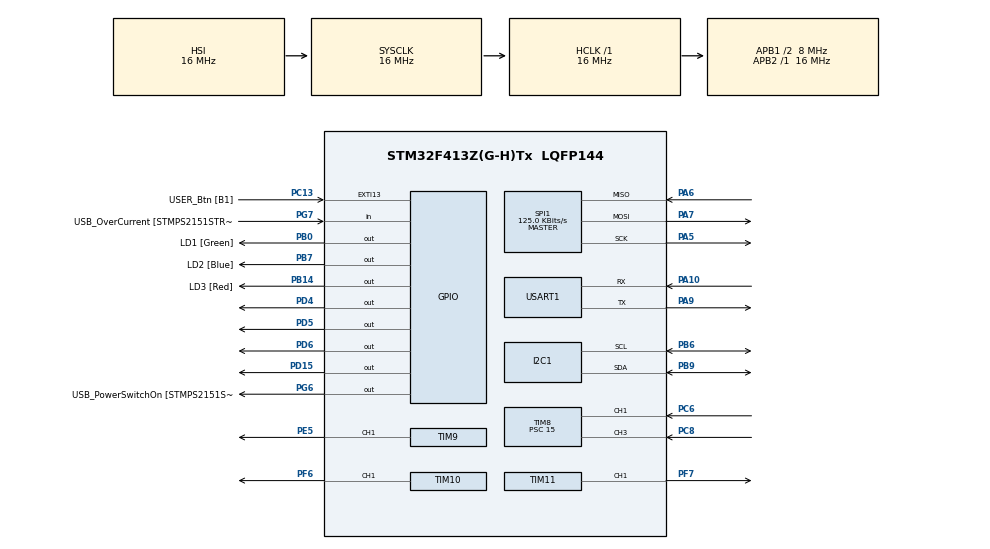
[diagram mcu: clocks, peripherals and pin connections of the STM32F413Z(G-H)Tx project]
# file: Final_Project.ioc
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Dma.Request0=SPI1_RX
Dma.Request1=SPI1_TX
Dma.SPI1_RX.0.Direction=DMA_PERIPH_TO_MEMORY
Dma.SPI1_RX.0.FIFOMode=DMA_FIFOMODE_DISABLE
Dma.SPI1_RX.0.Instance=DMA2_Stream0
Dma.SPI1_RX.0.MemDataAlignment=DMA_MDATAALIGN_BYTE
Dma.SPI1_RX.0.MemInc=DMA_MINC_ENABLE
Dma.SPI1_RX.0.Mode=DMA_NORMAL
Dma.SPI1_RX.0.PeriphDataAlignment=DMA_PDATAALIGN_BYTE
Dma.SPI1_RX.0.PeriphInc=DMA_PINC_DISABLE
Dma.SPI1_RX.0.Priority=DMA_PRIORITY_LOW
Dma.SPI1_TX.1.Direction=DMA_MEMORY_TO_PERIPH
Dma.SPI1_TX.1.FIFOMode=DMA_FIFOMODE_DISABLE
Dma.SPI1_TX.1.Instance=DMA2_Stream2
Dma.SPI1_TX.1.MemDataAlignment=DMA_MDATAALIGN_BYTE
Dma.SPI1_TX.1.MemInc=DMA_MINC_ENABLE
Dma.SPI1_TX.1.Mode=DMA_NORMAL
Dma.SPI1_TX.1.PeriphDataAlignment=DMA_PDATAALIGN_BYTE
Dma.SPI1_TX.1.PeriphInc=DMA_PINC_DISABLE
Dma.SPI1_TX.1.Priority=DMA_PRIORITY_LOW
Mcu.Family=STM32F4
Mcu.Name=STM32F413Z(G-H)Tx
Mcu.Package=LQFP144
NVIC.DMA2_Stream0_IRQn=true\:0\:0\:false\:false\:true\:false\:true
NVIC.DMA2_Stream2_IRQn=true\:0\:0\:false\:false\:true\:false\:true
NVIC.I2C1_ER_IRQn=true\:0\:0\:false\:false\:true\:true\:true
NVIC.I2C1_EV_IRQn=true\:0\:0\:false\:false\:true\:true\:true
NVIC.PriorityGroup=NVIC_PRIORITYGROUP_4
NVIC.SPI1_IRQn=true\:0\:0\:false\:false\:true\:true\:true
NVIC.TIM1_BRK_TIM9_IRQn=true\:0\:0\:false\:false\:true\:true\:true
NVIC.TIM1_TRG_COM_TIM11_IRQn=true\:0\:0\:false\:false\:true\:true\:true
NVIC.TIM1_UP_TIM10_IRQn=true\:0\:0\:false\:false\:true\:true\:true
NVIC.TIM8_CC_IRQn=true\:0\:0\:false\:false\:true\:true\:true
NVIC.USART1_IRQn=true\:0\:0\:false\:false\:true\:true\:true
PA10.Mode=Asynchronous
PA10.Signal=USART1_RX
PA11.GPIO_Label=USB_DM
PA11.Signal=USB_OTG_FS_DM
PA12.GPIO_Label=USB_DP
PA12.Signal=USB_OTG_FS_DP
PA13.GPIO_Label=TMS
PA13.Mode=Trace_Asynchronous_SW
PA13.Signal=SYS_JTMS-SWDIO
PA14.GPIO_Label=TCK
PA14.Mode=Trace_Asynchronous_SW
PA14.Signal=SYS_JTCK-SWCLK
PA5.Mode=Full_Duplex_Master
PA5.Signal=SPI1_SCK
PA6.Mode=Full_Duplex_Master
PA6.Signal=SPI1_MISO
PA7.Mode=Full_Duplex_Master
PA7.Signal=SPI1_MOSI
PA9.Mode=Asynchronous
PA9.Signal=USART1_TX
PB0.GPIO_Label=LD1 [Green]
PB0.Signal=GPIO_Output
PB14.GPIO_Label=LD3 [Red]
PB14.GPIO_Speed=GPIO_SPEED_FREQ_LOW
PB14.Signal=GPIO_Output
PB3.GPIO_Label=SWO
PB3.Mode=Trace_Asynchronous_SW
PB3.Signal=SYS_JTDO-SWO
PB6.Mode=I2C
PB6.Signal=I2C1_SCL
PB7.GPIO_Label=LD2 [Blue]
PB7.Signal=GPIO_Output
PB9.Mode=I2C
PB9.Signal=I2C1_SDA
PC13.GPIO_Label=USER_Btn [B1]
PC13.Signal=GPXTI13
PC14-OSC32_IN.Signal=RCC_OSC32_IN
PC15-OSC32_OUT.Signal=RCC_OSC32_OUT
PC6.Signal=S_TIM8_CH1
PC8.Signal=S_TIM8_CH3
PD15.GPIO_Speed=GPIO_SPEED_FREQ_VERY_HIGH
PD15.Signal=GPIO_Output
PD4.Signal=GPIO_Output
PD5.Signal=GPIO_Output
PD6.Signal=GPIO_Output
PD8.GPIO_Label=STLK_RX [STM32F103CBT6_PA3]
PD8.Signal=USART3_TX
PD9.GPIO_Label=STLK_TX [STM32F103CBT6_PA2]
PD9.Signal=USART3_RX
PE5.Signal=S_TIM9_CH1
PF6.Signal=S_TIM10_CH1
PF7.Signal=S_TIM11_CH1
PG6.GPIO_Label=USB_PowerSwitchOn [STMPS2151STR_EN]
PG6.Signal=GPIO_Output
PG7.GPIO_Label=USB_OverCurrent [STMPS2151STR_FAULT]
PG7.Signal=GPIO_Input
PH0\ -\ OSC_IN.GPIO_Label=MCO
PH0\ -\ OSC_IN.Signal=RCC_OSC_IN
PH1\ -\ OSC_OUT.Signal=RCC_OSC_OUT
ProjectManager.HeapSize=0x200
ProjectManager.StackSize=0x400
ProjectManager.TargetToolchain=MDK-ARM V5
RCC.48MHZClocksFreq_Value=24000000
RCC.AHBFreq_Value=16000000
RCC.APB1CLKDivider=RCC_HCLK_DIV2
RCC.APB1Freq_Value=8000000
RCC.APB1TimFreq_Value=16000000
RCC.APB2Freq_Value=16000000
RCC.APB2TimFreq_Value=16000000
RCC.CortexFreq_Value=16000000
RCC.HCLKFreq_Value=16000000
RCC.HSE_VALUE=8000000
RCC.HSI_VALUE=16000000
RCC.PLLMUL=RCC_PLL_MUL9
RCC.PRESCALERUSB=RCC_USBCLKSOURCE_PLL_DIV1_5
RCC.SYSCLKFreq_VALUE=16000000
RCC.SYSCLKSourceVirtual=RCC_SYSCLKSOURCE_PLLCLK
RCC.USBFreq_Value=96000000
RCC.VCOOutputFreq_Value=192000000
SH.S_TIM10_CH1.0=TIM10_CH1,PWM Generation1 CH1
SH.S_TIM11_CH1.0=TIM11_CH1,PWM Generation1 CH1
SH.S_TIM8_CH1.0=TIM8_CH1,TriggerSource_TI1FP1
SH.S_TIM8_CH1.1=TIM8_CH1,Input_Capture1_from_TI1
SH.S_TIM8_CH3.0=TIM8_CH3,Input_Capture3_from_TI3
SH.S_TIM9_CH1.0=TIM9_CH1,PWM Generation1 CH1
SPI1.BaudRatePrescaler=SPI_BAUDRATEPRESCALER_128
SPI1.CLKPhase=SPI_PHASE_1EDGE
SPI1.CLKPolarity=SPI_POLARITY_LOW
SPI1.CalculateBaudRate=125.0 KBits/s
SPI1.DataSize=SPI_DATASIZE_8BIT
SPI1.Direction=SPI_DIRECTION_2LINES
SPI1.Mode=SPI_MODE_MASTER
SPI1.VirtualType=VM_MASTER
TIM10.Channel=TIM_CHANNEL_1
TIM10.Period=100
TIM10.Prescaler=3
TIM10.Pulse=30
TIM11.Channel=TIM_CHANNEL_1
TIM11.Period=19999
TIM11.Prescaler=15
TIM8.Channel-Input_Capture1_from_TI1=TIM_CHANNEL_1
TIM8.Channel-Input_Capture2_from_TI1_63=TIM_CHANNEL_2
TIM8.Channel-Input_Capture3_from_TI3=TIM_CHANNEL_3
TIM8.ICPolarity_CH2=TIM_INPUTCHANNELPOLARITY_FALLING
TIM8.Period=30000
TIM8.Prescaler=15
TIM9.Channel-PWM\ Generation1\ CH1=TIM_CHANNEL_1
TIM9.Period=19999
TIM9.Prescaler=15
USART1.VirtualMode=VM_ASYNC
VP_TIM10_VS_ClockSourceINT.Mode=Enable_Timer
VP_TIM11_VS_ClockSourceINT.Mode=Enable_Timer
VP_TIM8_VS_ClockSourceINT.Mode=Internal
VP_TIM8_VS_ControllerModeReset.Mode=Reset Mode
VP_TIM8_VS_indirect_ch1.Mode=Input_Capture2_from_TI1_63
VP_TIM9_VS_ClockSourceINT.Mode=Internal
board=NUCLEO-F413ZH

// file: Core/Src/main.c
/* USER CODE BEGIN Header */
/**
  ******************************************************************************
  * @file           : main.c
  * @brief          : Main program body
  ******************************************************************************
  * @attention
  *
  * <h2><center>&copy; Copyright (c) 2021 STMicroelectronics.
  * All rights reserved.</center></h2>
  *
  * This software component is licensed by ST under BSD 3-Clause license,
  * the "License"; You may not use this file except in compliance with the
  * License. You may obtain a copy of the License at:
  *                        opensource.org/licenses/BSD-3-Clause
  *
  ******************************************************************************
  */
/* USER CODE END Header */
#include "main.h"

/* USER CODE BEGIN Includes */
#include "Functions.h"

/* USER CODE END Includes */

I2C_HandleTypeDef hi2c1;

SPI_HandleTypeDef hspi1;
DMA_HandleTypeDef hdma_spi1_rx;
DMA_HandleTypeDef hdma_spi1_tx;

TIM_HandleTypeDef htim8;
TIM_HandleTypeDef htim9;
TIM_HandleTypeDef htim10;
TIM_HandleTypeDef htim11;

UART_HandleTypeDef huart1;

void SystemClock_Config(void);
static void MX_GPIO_Init(void);
static void MX_I2C1_Init(void);
static void MX_SPI1_Init(void);
static void MX_USART1_UART_Init(void);
static void MX_TIM8_Init(void);
static void MX_DMA_Init(void);
static void MX_TIM9_Init(void);
static void MX_TIM10_Init(void);
static void MX_TIM11_Init(void);

int main(void)
{
  /* USER CODE BEGIN 1 */
	char buf[10] = {0};
	short input_PWM_servo;
	short input_PWM_DRV = 0;
	short count = 0;
	uint8_t flag;
	uint8_t i;
	uint16_t old_angle;
	uint16_t new_angle;

  /* USER CODE END 1 */

  /* MCU Configuration--------------------------------------------------------*/

  /* Reset of all peripherals, Initializes the Flash interface and the Systick. */
  HAL_Init();

  /* Configure the system clock */
  SystemClock_Config();

  /* Initialize all configured peripherals */
  MX_GPIO_Init();
  MX_I2C1_Init();
  MX_SPI1_Init();
  MX_USART1_UART_Init();
  MX_TIM8_Init();
  MX_DMA_Init();
  MX_TIM9_Init();
  MX_TIM10_Init();
  MX_TIM11_Init();
  /* USER CODE BEGIN 2 */

	HAL_TIM_IC_Start(&htim8, TIM_CHANNEL_1); //Reaction on output event
	HAL_TIM_IC_Start(&htim8, TIM_CHANNEL_2);
	HAL_TIM_IC_Start(&htim8, TIM_CHANNEL_3);

	HAL_TIM_Base_Start(&htim8);

	HAL_TIM_PWM_Start(&htim11, TIM_CHANNEL_1);  //Start servo timer
	HAL_TIM_PWM_Start(&htim10, TIM_CHANNEL_1); //Start DRV timer

	DRV_setup(&hspi1);
	old_angle = getAngle(&hi2c1);
	struct Stack stack_DRV;
	struct Stack stack_SERVO;
	Stack_ctor_(&stack_DRV);
	Stack_ctor_(&stack_SERVO);
	TIM11->CCR1 = 1180;

  /* USER CODE END 2 */

  /* Infinite loop */
  while (1)
  {

    /* USER CODE BEGIN 3 */

		if (HAL_GPIO_ReadPin(GPIOC, GPIO_PIN_13))
			i++;
		else
			i = 0;
		if (i > 5){
			HAL_GPIO_WritePin(GPIOB, GPIO_PIN_7, 1);
			flag = 1;
		}

		new_angle = getAngle(&hi2c1);

		if (abs(old_angle - new_angle) > 8192){
			if (new_angle > old_angle){
				count += 1;
		}else{
				count -= 1;
		  }
	  }

	  old_angle = new_angle;

		//sprintf(buf, "%d\n", count);

		//HAL_UART_Transmit_IT(&huart1, (uint8_t*) buf, 10);
		//HAL_Delay(300);

		if (flag){
			input_PWM_DRV = pop(&stack_DRV, &huart1);
			input_PWM_servo = pop(&stack_SERVO, &huart1);
			HAL_Delay(50);

			DRV_start_reverse(input_PWM_DRV);
		  SERVO_start(input_PWM_servo);

		}else{
			input_PWM_DRV = TIM8->CCR1 - TIM8->CCR3;
			input_PWM_DRV = -(input_PWM_DRV - 1487)/7;
			input_PWM_servo = 2696 - (TIM8->CCR2);

			push(&stack_DRV, input_PWM_DRV, &huart1);
			push(&stack_SERVO, input_PWM_servo, &huart1);
			HAL_Delay(50);

			DRV_start(input_PWM_DRV);
			SERVO_start(input_PWM_servo);
		}
	}

  /* USER CODE END 3 */
}

void SystemClock_Config(void)
{
  RCC_OscInitTypeDef RCC_OscInitStruct = {0};
  RCC_ClkInitTypeDef RCC_ClkInitStruct = {0};

  /** Configure the main internal regulator output voltage
  */
  __HAL_RCC_PWR_CLK_ENABLE();
  __HAL_PWR_VOLTAGESCALING_CONFIG(PWR_REGULATOR_VOLTAGE_SCALE1);
  /** Initializes the RCC Oscillators according to the specified parameters
  * in the RCC_OscInitTypeDef structure.
  */
  RCC_OscInitStruct.OscillatorType = RCC_OSCILLATORTYPE_HSI;
  RCC_OscInitStruct.HSIState = RCC_HSI_ON;
  RCC_OscInitStruct.HSICalibrationValue = RCC_HSICALIBRATION_DEFAULT;
  RCC_OscInitStruct.PLL.PLLState = RCC_PLL_NONE;
  if (HAL_RCC_OscConfig(&RCC_OscInitStruct) != HAL_OK)
  {
    Error_Handler();
  }
  /** Initializes the CPU, AHB and APB buses clocks
  */
  RCC_ClkInitStruct.ClockType = RCC_CLOCKTYPE_HCLK|RCC_CLOCKTYPE_SYSCLK
                              |RCC_CLOCKTYPE_PCLK1|RCC_CLOCKTYPE_PCLK2;
  RCC_ClkInitStruct.SYSCLKSource = RCC_SYSCLKSOURCE_HSI;
  RCC_ClkInitStruct.AHBCLKDivider = RCC_SYSCLK_DIV1;
  RCC_ClkInitStruct.APB1CLKDivider = RCC_HCLK_DIV2;
  RCC_ClkInitStruct.APB2CLKDivider = RCC_HCLK_DIV1;

  if (HAL_RCC_ClockConfig(&RCC_ClkInitStruct, FLASH_LATENCY_0) != HAL_OK)
  {
    Error_Handler();
  }
}

static void MX_I2C1_Init(void)
{

  hi2c1.Instance = I2C1;
  hi2c1.Init.ClockSpeed = 100000;
  hi2c1.Init.DutyCycle = I2C_DUTYCYCLE_2;
  hi2c1.Init.OwnAddress1 = 0;
  hi2c1.Init.AddressingMode = I2C_ADDRESSINGMODE_7BIT;
  hi2c1.Init.DualAddressMode = I2C_DUALADDRESS_DISABLE;
  hi2c1.Init.OwnAddress2 = 0;
  hi2c1.Init.GeneralCallMode = I2C_GENERALCALL_DISABLE;
  hi2c1.Init.NoStretchMode = I2C_NOSTRETCH_DISABLE;
  if (HAL_I2C_Init(&hi2c1) != HAL_OK)
  {
    Error_Handler();
  }

}

static void MX_SPI1_Init(void)
{

  /* SPI1 parameter configuration*/
  hspi1.Instance = SPI1;
  hspi1.Init.Mode = SPI_MODE_MASTER;
  hspi1.Init.Direction = SPI_DIRECTION_2LINES;
  hspi1.Init.DataSize = SPI_DATASIZE_8BIT;
  hspi1.Init.CLKPolarity = SPI_POLARITY_LOW;
  hspi1.Init.CLKPhase = SPI_PHASE_1EDGE;
  hspi1.Init.NSS = SPI_NSS_SOFT;
  hspi1.Init.BaudRatePrescaler = SPI_BAUDRATEPRESCALER_128;
  hspi1.Init.FirstBit = SPI_FIRSTBIT_MSB;
  hspi1.Init.TIMode = SPI_TIMODE_DISABLE;
  hspi1.Init.CRCCalculation = SPI_CRCCALCULATION_DISABLE;
  hspi1.Init.CRCPolynomial = 10;
  if (HAL_SPI_Init(&hspi1) != HAL_OK)
  {
    Error_Handler();
  }

}

static void MX_TIM8_Init(void)
{

  TIM_ClockConfigTypeDef sClockSourceConfig = {0};
  TIM_SlaveConfigTypeDef sSlaveConfig = {0};
  TIM_MasterConfigTypeDef sMasterConfig = {0};
  TIM_IC_InitTypeDef sConfigIC = {0};

  htim8.Instance = TIM8;
  htim8.Init.Prescaler = 15;
  htim8.Init.CounterMode = TIM_COUNTERMODE_UP;
  htim8.Init.Period = 30000;
  htim8.Init.ClockDivision = TIM_CLOCKDIVISION_DIV1;
  htim8.Init.RepetitionCounter = 0;
  htim8.Init.AutoReloadPreload = TIM_AUTORELOAD_PRELOAD_DISABLE;
  if (HAL_TIM_Base_Init(&htim8) != HAL_OK)
  {
    Error_Handler();
  }
  sClockSourceConfig.ClockSource = TIM_CLOCKSOURCE_INTERNAL;
  if (HAL_TIM_ConfigClockSource(&htim8, &sClockSourceConfig) != HAL_OK)
  {
    Error_Handler();
  }
  if (HAL_TIM_IC_Init(&htim8) != HAL_OK)
  {
    Error_Handler();
  }
  sSlaveConfig.SlaveMode = TIM_SLAVEMODE_RESET;
  sSlaveConfig.InputTrigger = TIM_TS_TI1FP1;
  sSlaveConfig.TriggerPolarity = TIM_INPUTCHANNELPOLARITY_RISING;
  sSlaveConfig.TriggerFilter = 0;
  if (HAL_TIM_SlaveConfigSynchro(&htim8, &sSlaveConfig) != HAL_OK)
  {
    Error_Handler();
  }
  sMasterConfig.MasterOutputTrigger = TIM_TRGO_RESET;
  sMasterConfig.MasterSlaveMode = TIM_MASTERSLAVEMODE_DISABLE;
  if (HAL_TIMEx_MasterConfigSynchronization(&htim8, &sMasterConfig) != HAL_OK)
  {
    Error_Handler();
  }
  sConfigIC.ICPolarity = TIM_INPUTCHANNELPOLARITY_RISING;
  sConfigIC.ICSelection = TIM_ICSELECTION_DIRECTTI;
  sConfigIC.ICPrescaler = TIM_ICPSC_DIV1;
  sConfigIC.ICFilter = 0;
  if (HAL_TIM_IC_ConfigChannel(&htim8, &sConfigIC, TIM_CHANNEL_1) != HAL_OK)
  {
    Error_Handler();
  }
  sConfigIC.ICPolarity = TIM_INPUTCHANNELPOLARITY_FALLING;
  sConfigIC.ICSelection = TIM_ICSELECTION_INDIRECTTI;
  if (HAL_TIM_IC_ConfigChannel(&htim8, &sConfigIC, TIM_CHANNEL_2) != HAL_OK)
  {
    Error_Handler();
  }
  sConfigIC.ICPolarity = TIM_INPUTCHANNELPOLARITY_RISING;
  sConfigIC.ICSelection = TIM_ICSELECTION_DIRECTTI;
  if (HAL_TIM_IC_ConfigChannel(&htim8, &sConfigIC, TIM_CHANNEL_3) != HAL_OK)
  {
    Error_Handler();
  }

}

static void MX_TIM9_Init(void)
{

  TIM_ClockConfigTypeDef sClockSourceConfig = {0};
  TIM_OC_InitTypeDef sConfigOC = {0};

  htim9.Instance = TIM9;
  htim9.Init.Prescaler = 15;
  htim9.Init.CounterMode = TIM_COUNTERMODE_UP;
  htim9.Init.Period = 19999;
  htim9.Init.ClockDivision = TIM_CLOCKDIVISION_DIV1;
  htim9.Init.AutoReloadPreload = TIM_AUTORELOAD_PRELOAD_DISABLE;
  if (HAL_TIM_Base_Init(&htim9) != HAL_OK)
  {
    Error_Handler();
  }
  sClockSourceConfig.ClockSource = TIM_CLOCKSOURCE_INTERNAL;
  if (HAL_TIM_ConfigClockSource(&htim9, &sClockSourceConfig) != HAL_OK)
  {
    Error_Handler();
  }
  if (HAL_TIM_PWM_Init(&htim9) != HAL_OK)
  {
    Error_Handler();
  }
  sConfigOC.OCMode = TIM_OCMODE_PWM1;
  sConfigOC.Pulse = 0;
  sConfigOC.OCPolarity = TIM_OCPOLARITY_HIGH;
  sConfigOC.OCFastMode = TIM_OCFAST_DISABLE;
  if (HAL_TIM_PWM_ConfigChannel(&htim9, &sConfigOC, TIM_CHANNEL_1) != HAL_OK)
  {
    Error_Handler();
  }
  HAL_TIM_MspPostInit(&htim9);

}

static void MX_TIM10_Init(void)
{

  TIM_OC_InitTypeDef sConfigOC = {0};

  htim10.Instance = TIM10;
  htim10.Init.Prescaler = 3;
  htim10.Init.CounterMode = TIM_COUNTERMODE_UP;
  htim10.Init.Period = 100;
  htim10.Init.ClockDivision = TIM_CLOCKDIVISION_DIV1;
  htim10.Init.AutoReloadPreload = TIM_AUTORELOAD_PRELOAD_DISABLE;
  if (HAL_TIM_Base_Init(&htim10) != HAL_OK)
  {
    Error_Handler();
  }
  if (HAL_TIM_PWM_Init(&htim10) != HAL_OK)
  {
    Error_Handler();
  }
  sConfigOC.OCMode = TIM_OCMODE_PWM1;
  sConfigOC.Pulse = 30;
  sConfigOC.OCPolarity = TIM_OCPOLARITY_HIGH;
  sConfigOC.OCFastMode = TIM_OCFAST_DISABLE;
  if (HAL_TIM_PWM_ConfigChannel(&htim10, &sConfigOC, TIM_CHANNEL_1) != HAL_OK)
  {
    Error_Handler();
  }
  HAL_TIM_MspPostInit(&htim10);

}

static void MX_TIM11_Init(void)
{

  TIM_OC_InitTypeDef sConfigOC = {0};

  htim11.Instance = TIM11;
  htim11.Init.Prescaler = 15;
  htim11.Init.CounterMode = TIM_COUNTERMODE_UP;
  htim11.Init.Period = 19999;
  htim11.Init.ClockDivision = TIM_CLOCKDIVISION_DIV1;
  htim11.Init.AutoReloadPreload = TIM_AUTORELOAD_PRELOAD_DISABLE;
  if (HAL_TIM_Base_Init(&htim11) != HAL_OK)
  {
    Error_Handler();
  }
  if (HAL_TIM_PWM_Init(&htim11) != HAL_OK)
  {
    Error_Handler();
  }
  sConfigOC.OCMode = TIM_OCMODE_PWM1;
  sConfigOC.Pulse = 0;
  sConfigOC.OCPolarity = TIM_OCPOLARITY_HIGH;
  sConfigOC.OCFastMode = TIM_OCFAST_DISABLE;
  if (HAL_TIM_PWM_ConfigChannel(&htim11, &sConfigOC, TIM_CHANNEL_1) != HAL_OK)
  {
    Error_Handler();
  }
  HAL_TIM_MspPostInit(&htim11);

}

static void MX_USART1_UART_Init(void)
{

  huart1.Instance = USART1;
  huart1.Init.BaudRate = 115200;
  huart1.Init.WordLength = UART_WORDLENGTH_8B;
  huart1.Init.StopBits = UART_STOPBITS_1;
  huart1.Init.Parity = UART_PARITY_NONE;
  huart1.Init.Mode = UART_MODE_TX_RX;
  huart1.Init.HwFlowCtl = UART_HWCONTROL_NONE;
  huart1.Init.OverSampling = UART_OVERSAMPLING_16;
  if (HAL_UART_Init(&huart1) != HAL_OK)
  {
    Error_Handler();
  }

}

static void MX_DMA_Init(void)
{

  /* DMA controller clock enable */
  __HAL_RCC_DMA2_CLK_ENABLE();

  /* DMA interrupt init */
  /* DMA2_Stream0_IRQn interrupt configuration */
  HAL_NVIC_SetPriority(DMA2_Stream0_IRQn, 0, 0);
  HAL_NVIC_EnableIRQ(DMA2_Stream0_IRQn);
  /* DMA2_Stream2_IRQn interrupt configuration */
  HAL_NVIC_SetPriority(DMA2_Stream2_IRQn, 0, 0);
  HAL_NVIC_EnableIRQ(DMA2_Stream2_IRQn);

}

static void MX_GPIO_Init(void)
{
  GPIO_InitTypeDef GPIO_InitStruct = {0};

  /* GPIO Ports Clock Enable */
  __HAL_RCC_GPIOE_CLK_ENABLE();
  __HAL_RCC_GPIOC_CLK_ENABLE();
  __HAL_RCC_GPIOF_CLK_ENABLE();
  __HAL_RCC_GPIOH_CLK_ENABLE();
  __HAL_RCC_GPIOA_CLK_ENABLE();
  __HAL_RCC_GPIOB_CLK_ENABLE();
  __HAL_RCC_GPIOD_CLK_ENABLE();
  __HAL_RCC_GPIOG_CLK_ENABLE();

  /*Configure GPIO pin Output Level */
  HAL_GPIO_WritePin(GPIOB, LD1_Pin|LD3_Pin|LD2_Pin, GPIO_PIN_RESET);

  /*Configure GPIO pin Output Level */
  HAL_GPIO_WritePin(GPIOD, GPIO_PIN_15|GPIO_PIN_4|GPIO_PIN_5|GPIO_PIN_6, GPIO_PIN_RESET);

  /*Configure GPIO pin Output Level */
  HAL_GPIO_WritePin(USB_PowerSwitchOn_GPIO_Port, USB_PowerSwitchOn_Pin, GPIO_PIN_RESET);

  /*Configure GPIO pin : USER_Btn_Pin */
  GPIO_InitStruct.Pin = USER_Btn_Pin;
  GPIO_InitStruct.Mode = GPIO_MODE_IT_RISING;
  GPIO_InitStruct.Pull = GPIO_NOPULL;
  HAL_GPIO_Init(USER_Btn_GPIO_Port, &GPIO_InitStruct);

  /*Configure GPIO pins : LD1_Pin LD3_Pin LD2_Pin */
  GPIO_InitStruct.Pin = LD1_Pin|LD3_Pin|LD2_Pin;
  GPIO_InitStruct.Mode = GPIO_MODE_OUTPUT_PP;
  GPIO_InitStruct.Pull = GPIO_NOPULL;
  GPIO_InitStruct.Speed = GPIO_SPEED_FREQ_LOW;
  HAL_GPIO_Init(GPIOB, &GPIO_InitStruct);

  /*Configure GPIO pins : STLK_RX_Pin STLK_TX_Pin */
  GPIO_InitStruct.Pin = STLK_RX_Pin|STLK_TX_Pin;
  GPIO_InitStruct.Mode = GPIO_MODE_AF_PP;
  GPIO_InitStruct.Pull = GPIO_NOPULL;
  GPIO_InitStruct.Speed = GPIO_SPEED_FREQ_VERY_HIGH;
  GPIO_InitStruct.Alternate = GPIO_AF7_USART3;
  HAL_GPIO_Init(GPIOD, &GPIO_InitStruct);

  /*Configure GPIO pin : PD15 */
  GPIO_InitStruct.Pin = GPIO_PIN_15;
  GPIO_InitStruct.Mode = GPIO_MODE_OUTPUT_PP;
  GPIO_InitStruct.Pull = GPIO_NOPULL;
  GPIO_InitStruct.Speed = GPIO_SPEED_FREQ_VERY_HIGH;
  HAL_GPIO_Init(GPIOD, &GPIO_InitStruct);

  /*Configure GPIO pin : USB_PowerSwitchOn_Pin */
  GPIO_InitStruct.Pin = USB_PowerSwitchOn_Pin;
  GPIO_InitStruct.Mode = GPIO_MODE_OUTPUT_PP;
  GPIO_InitStruct.Pull = GPIO_NOPULL;
  GPIO_InitStruct.Speed = GPIO_SPEED_FREQ_LOW;
  HAL_GPIO_Init(USB_PowerSwitchOn_GPIO_Port, &GPIO_InitStruct);

  /*Configure GPIO pin : USB_OverCurrent_Pin */
  GPIO_InitStruct.Pin = USB_OverCurrent_Pin;
  GPIO_InitStruct.Mode = GPIO_MODE_INPUT;
  GPIO_InitStruct.Pull = GPIO_NOPULL;
  HAL_GPIO_Init(USB_OverCurrent_GPIO_Port, &GPIO_InitStruct);

  /*Configure GPIO pins : USB_DM_Pin USB_DP_Pin */
  GPIO_InitStruct.Pin = USB_DM_Pin|USB_DP_Pin;
  GPIO_InitStruct.Mode = GPIO_MODE_AF_PP;
  GPIO_InitStruct.Pull = GPIO_NOPULL;
  GPIO_InitStruct.Speed = GPIO_SPEED_FREQ_VERY_HIGH;
  GPIO_InitStruct.Alternate = GPIO_AF10_OTG_FS;
  HAL_GPIO_Init(GPIOA, &GPIO_InitStruct);

  /*Configure GPIO pins : PD4 PD5 PD6 */
  GPIO_InitStruct.Pin = GPIO_PIN_4|GPIO_PIN_5|GPIO_PIN_6;
  GPIO_InitStruct.Mode = GPIO_MODE_OUTPUT_PP;
  GPIO_InitStruct.Pull = GPIO_NOPULL;
  GPIO_InitStruct.Speed = GPIO_SPEED_FREQ_LOW;
  HAL_GPIO_Init(GPIOD, &GPIO_InitStruct);

}

void Error_Handler(void)
{
  __disable_irq();
  while (1)
  {
  }
}

/************************ (C) COPYRIGHT STMicroelectronics *****END OF FILE****/
